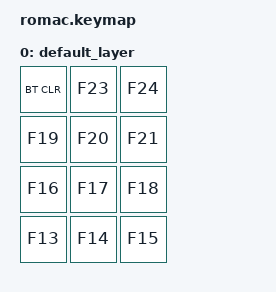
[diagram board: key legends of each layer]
/*
 * Copyright (c) 2020 The ZMK Contributors
 *
 * SPDX-License-Identifier: MIT
 */

#include <behaviors.dtsi>
#include <dt-bindings/zmk/bt.h>
#include <dt-bindings/zmk/keys.h>

/ {
    keymap {
        compatible = "zmk,keymap";

        default_layer {
// --------------------------
// | 7      |  8  |  9      |
// | 4      |  5  |  6      |
// | 1      |  2  |  3      |
// | M_PLAY |  0  |  MO(1)  |
// --------------------------
            bindings = <
    &bt BT_CLR  &kp F23 &kp F24
    &kp F19  &kp F20 &kp F21
    &kp F16  &kp F17 &kp F18
    &kp F13  &kp F14 &kp F15
            >;
        };
    };
};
